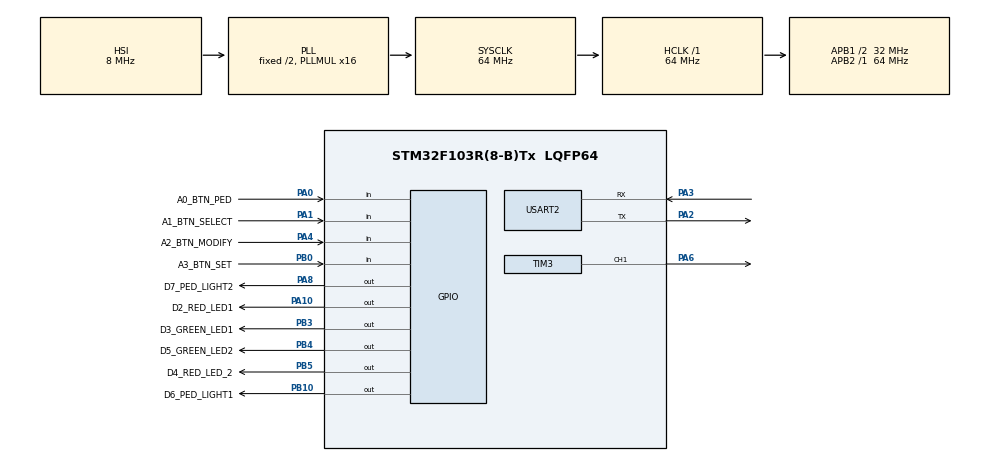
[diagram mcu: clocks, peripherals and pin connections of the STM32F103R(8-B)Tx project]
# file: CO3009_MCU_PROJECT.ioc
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Mcu.Family=STM32F1
Mcu.Name=STM32F103R(8-B)Tx
Mcu.Package=LQFP64
NVIC.PriorityGroup=NVIC_PRIORITYGROUP_4
NVIC.TIM2_IRQn=true\:0\:0\:false\:false\:true\:true\:true
PA0-WKUP.GPIO_Label=A0_BTN_PED
PA0-WKUP.GPIO_PuPd=GPIO_PULLUP
PA0-WKUP.Signal=GPIO_Input
PA1.GPIO_Label=A1_BTN_SELECT
PA1.GPIO_PuPd=GPIO_PULLUP
PA1.Signal=GPIO_Input
PA10.GPIO_Label=D2_RED_LED1
PA10.Signal=GPIO_Output
PA13.Mode=Serial_Wire
PA13.Signal=SYS_JTMS-SWDIO
PA14.Mode=Serial_Wire
PA14.Signal=SYS_JTCK-SWCLK
PA2.Mode=Asynchronous
PA2.Signal=USART2_TX
PA3.Mode=Asynchronous
PA3.Signal=USART2_RX
PA4.GPIO_Label=A2_BTN_MODIFY
PA4.GPIO_PuPd=GPIO_PULLUP
PA4.Signal=GPIO_Input
PA6.Signal=S_TIM3_CH1
PA8.GPIO_Label=D7_PED_LIGHT2
PA8.Signal=GPIO_Output
PB0.GPIO_Label=A3_BTN_SET
PB0.GPIO_PuPd=GPIO_PULLUP
PB0.Signal=GPIO_Input
PB10.GPIO_Label=D6_PED_LIGHT1
PB10.Signal=GPIO_Output
PB3.GPIO_Label=D3_GREEN_LED1
PB3.Signal=GPIO_Output
PB4.GPIO_Label=D5_GREEN_LED2
PB4.Signal=GPIO_Output
PB5.GPIO_Label=D4_RED_LED_2
PB5.Signal=GPIO_Output
ProjectManager.HeapSize=0x200
ProjectManager.StackSize=0x400
ProjectManager.TargetToolchain=STM32CubeIDE
RCC.AHBFreq_Value=64000000
RCC.APB1CLKDivider=RCC_HCLK_DIV2
RCC.APB1Freq_Value=32000000
RCC.APB1TimFreq_Value=64000000
RCC.APB2Freq_Value=64000000
RCC.APB2TimFreq_Value=64000000
RCC.HCLKFreq_Value=64000000
RCC.PLLMUL=RCC_PLL_MUL16
RCC.SYSCLKFreq_VALUE=64000000
RCC.SYSCLKSource=RCC_SYSCLKSOURCE_PLLCLK
RCC.USBFreq_Value=64000000
SH.S_TIM3_CH1.0=TIM3_CH1,PWM Generation1 CH1
TIM2.ClockDivision=TIM_CLOCKDIVISION_DIV1
TIM2.Period=79
TIM2.Prescaler=7999
TIM3.AutoReloadPreload=TIM_AUTORELOAD_PRELOAD_DISABLE
TIM3.Channel-PWM\ Generation1\ CH1=TIM_CHANNEL_1
TIM3.Period=999
TIM3.Prescaler=63
USART2.VirtualMode=VM_ASYNC
VP_TIM2_VS_ClockSourceINT.Mode=Internal
board=custom

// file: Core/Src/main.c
/* USER CODE BEGIN Header */
/**
  ******************************************************************************
  * @file           : main.c
  * @brief          : Main program body
  ******************************************************************************
  * @attention
  *
  * <h2><center>&copy; Copyright (c) 2022 STMicroelectronics.
  * All rights reserved.</center></h2>
  *
  * This software component is licensed by ST under BSD 3-Clause license,
  * the "License"; You may not use this file except in compliance with the
  * License. You may obtain a copy of the License at:
  *                        opensource.org/licenses/BSD-3-Clause
  *
  ******************************************************************************
  */
/* USER CODE END Header */
#include "main.h"

/* USER CODE BEGIN Includes */
#include "software_timer.h"
#include "global.h"
#include "fsm_automatic.h"
#include "fsm_manual.h"
#include "fsm_change.h"
#include "button.h"
#include "melody.h"
/* USER CODE END Includes */

TIM_HandleTypeDef htim2;
TIM_HandleTypeDef htim3;

UART_HandleTypeDef huart2;

void SystemClock_Config(void);
static void MX_GPIO_Init(void);
static void MX_TIM2_Init(void);
static void MX_TIM3_Init(void);
static void MX_USART2_UART_Init(void);

int main(void)
{

  /* MCU Configuration--------------------------------------------------------*/

  /* Reset of all peripherals, Initializes the Flash interface and the Systick. */
  HAL_Init();

  /* Configure the system clock */
  SystemClock_Config();

  /* Initialize all configured peripherals */
  MX_GPIO_Init();
  MX_TIM2_Init();
  MX_TIM3_Init();
  MX_USART2_UART_Init();
  /* USER CODE BEGIN 2 */
  HAL_TIM_Base_Start_IT(&htim2);
  HAL_TIM_PWM_Start(&htim3, TIM_CHANNEL_1);
  buzzer_init(TIM3);
  /* USER CODE END 2 */

  /* Infinite loop */
  /* USER CODE BEGIN WHILE */
  //setTimerTraffic1(10);
  state = IDLE;
  while (1)
  {
	  trafficLight_automatic();
	  trafficLight_change();
	  trafficLight_manual();
	  triggerLed();
//	  if (isLongPressedAndReleased(BTN_SELECT_INDEX)){
//		  char message[20];
//		  HAL_UART_Transmit(&huart2, (void *)message, sprintf(message, "!longpress#\r\n"), 1000);
//	  }
	  //HAL_GPIO_TogglePin(D2_RED_LED1_GPIO_Port, D2_RED_LED1_Pin);
	  //HAL_Delay(1000);
	  //HAL_GPIO_WritePin(D6_PED_LIGHT1_GPIO_Port, D6_PED_LIGHT1_Pin, 1);
	  //HAL_GPIO_WritePin(D7_PEDLIGHT2_GPIO_Port, D7_PEDLIGHT2_Pin, 0);
    /* USER CODE END WHILE */

  }
}

void SystemClock_Config(void)
{
  RCC_OscInitTypeDef RCC_OscInitStruct = {0};
  RCC_ClkInitTypeDef RCC_ClkInitStruct = {0};

  /** Initializes the RCC Oscillators according to the specified parameters
  * in the RCC_OscInitTypeDef structure.
  */
  RCC_OscInitStruct.OscillatorType = RCC_OSCILLATORTYPE_HSI;
  RCC_OscInitStruct.HSIState = RCC_HSI_ON;
  RCC_OscInitStruct.HSICalibrationValue = RCC_HSICALIBRATION_DEFAULT;
  RCC_OscInitStruct.PLL.PLLState = RCC_PLL_ON;
  RCC_OscInitStruct.PLL.PLLSource = RCC_PLLSOURCE_HSI_DIV2;
  RCC_OscInitStruct.PLL.PLLMUL = RCC_PLL_MUL16;
  if (HAL_RCC_OscConfig(&RCC_OscInitStruct) != HAL_OK)
  {
    Error_Handler();
  }
  /** Initializes the CPU, AHB and APB buses clocks
  */
  RCC_ClkInitStruct.ClockType = RCC_CLOCKTYPE_HCLK|RCC_CLOCKTYPE_SYSCLK
                              |RCC_CLOCKTYPE_PCLK1|RCC_CLOCKTYPE_PCLK2;
  RCC_ClkInitStruct.SYSCLKSource = RCC_SYSCLKSOURCE_PLLCLK;
  RCC_ClkInitStruct.AHBCLKDivider = RCC_SYSCLK_DIV1;
  RCC_ClkInitStruct.APB1CLKDivider = RCC_HCLK_DIV2;
  RCC_ClkInitStruct.APB2CLKDivider = RCC_HCLK_DIV1;

  if (HAL_RCC_ClockConfig(&RCC_ClkInitStruct, FLASH_LATENCY_2) != HAL_OK)
  {
    Error_Handler();
  }
}

static void MX_TIM2_Init(void)
{

  TIM_ClockConfigTypeDef sClockSourceConfig = {0};
  TIM_MasterConfigTypeDef sMasterConfig = {0};

  htim2.Instance = TIM2;
  htim2.Init.Prescaler = 7999;
  htim2.Init.CounterMode = TIM_COUNTERMODE_UP;
  htim2.Init.Period = 79;
  htim2.Init.ClockDivision = TIM_CLOCKDIVISION_DIV1;
  htim2.Init.AutoReloadPreload = TIM_AUTORELOAD_PRELOAD_DISABLE;
  if (HAL_TIM_Base_Init(&htim2) != HAL_OK)
  {
    Error_Handler();
  }
  sClockSourceConfig.ClockSource = TIM_CLOCKSOURCE_INTERNAL;
  if (HAL_TIM_ConfigClockSource(&htim2, &sClockSourceConfig) != HAL_OK)
  {
    Error_Handler();
  }
  sMasterConfig.MasterOutputTrigger = TIM_TRGO_RESET;
  sMasterConfig.MasterSlaveMode = TIM_MASTERSLAVEMODE_DISABLE;
  if (HAL_TIMEx_MasterConfigSynchronization(&htim2, &sMasterConfig) != HAL_OK)
  {
    Error_Handler();
  }

}

static void MX_TIM3_Init(void)
{

  TIM_MasterConfigTypeDef sMasterConfig = {0};
  TIM_OC_InitTypeDef sConfigOC = {0};

  htim3.Instance = TIM3;
  htim3.Init.Prescaler = 63;
  htim3.Init.CounterMode = TIM_COUNTERMODE_UP;
  htim3.Init.Period = 999;
  htim3.Init.ClockDivision = TIM_CLOCKDIVISION_DIV1;
  htim3.Init.AutoReloadPreload = TIM_AUTORELOAD_PRELOAD_DISABLE;
  if (HAL_TIM_PWM_Init(&htim3) != HAL_OK)
  {
    Error_Handler();
  }
  sMasterConfig.MasterOutputTrigger = TIM_TRGO_RESET;
  sMasterConfig.MasterSlaveMode = TIM_MASTERSLAVEMODE_DISABLE;
  if (HAL_TIMEx_MasterConfigSynchronization(&htim3, &sMasterConfig) != HAL_OK)
  {
    Error_Handler();
  }
  sConfigOC.OCMode = TIM_OCMODE_PWM1;
  sConfigOC.Pulse = 0;
  sConfigOC.OCPolarity = TIM_OCPOLARITY_HIGH;
  sConfigOC.OCFastMode = TIM_OCFAST_DISABLE;
  if (HAL_TIM_PWM_ConfigChannel(&htim3, &sConfigOC, TIM_CHANNEL_1) != HAL_OK)
  {
    Error_Handler();
  }
  HAL_TIM_MspPostInit(&htim3);

}

static void MX_USART2_UART_Init(void)
{

  huart2.Instance = USART2;
  huart2.Init.BaudRate = 115200;
  huart2.Init.WordLength = UART_WORDLENGTH_8B;
  huart2.Init.StopBits = UART_STOPBITS_1;
  huart2.Init.Parity = UART_PARITY_NONE;
  huart2.Init.Mode = UART_MODE_TX_RX;
  huart2.Init.HwFlowCtl = UART_HWCONTROL_NONE;
  huart2.Init.OverSampling = UART_OVERSAMPLING_16;
  if (HAL_UART_Init(&huart2) != HAL_OK)
  {
    Error_Handler();
  }

}

static void MX_GPIO_Init(void)
{
  GPIO_InitTypeDef GPIO_InitStruct = {0};

  /* GPIO Ports Clock Enable */
  __HAL_RCC_GPIOA_CLK_ENABLE();
  __HAL_RCC_GPIOB_CLK_ENABLE();

  /*Configure GPIO pin Output Level */
  HAL_GPIO_WritePin(GPIOB, D6_PED_LIGHT1_Pin|D3_GREEN_LED1_Pin|D5_GREEN_LED2_Pin|D4_RED_LED_2_Pin, GPIO_PIN_RESET);

  /*Configure GPIO pin Output Level */
  HAL_GPIO_WritePin(GPIOA, D7_PED_LIGHT2_Pin|D2_RED_LED1_Pin, GPIO_PIN_RESET);

  /*Configure GPIO pins : A0_BTN_PED_Pin A1_BTN_SELECT_Pin A2_BTN_MODIFY_Pin */
  GPIO_InitStruct.Pin = A0_BTN_PED_Pin|A1_BTN_SELECT_Pin|A2_BTN_MODIFY_Pin;
  GPIO_InitStruct.Mode = GPIO_MODE_INPUT;
  GPIO_InitStruct.Pull = GPIO_PULLUP;
  HAL_GPIO_Init(GPIOA, &GPIO_InitStruct);

  /*Configure GPIO pin : A3_BTN_SET_Pin */
  GPIO_InitStruct.Pin = A3_BTN_SET_Pin;
  GPIO_InitStruct.Mode = GPIO_MODE_INPUT;
  GPIO_InitStruct.Pull = GPIO_PULLUP;
  HAL_GPIO_Init(A3_BTN_SET_GPIO_Port, &GPIO_InitStruct);

  /*Configure GPIO pins : D6_PED_LIGHT1_Pin D3_GREEN_LED1_Pin D5_GREEN_LED2_Pin D4_RED_LED_2_Pin */
  GPIO_InitStruct.Pin = D6_PED_LIGHT1_Pin|D3_GREEN_LED1_Pin|D5_GREEN_LED2_Pin|D4_RED_LED_2_Pin;
  GPIO_InitStruct.Mode = GPIO_MODE_OUTPUT_PP;
  GPIO_InitStruct.Pull = GPIO_NOPULL;
  GPIO_InitStruct.Speed = GPIO_SPEED_FREQ_LOW;
  HAL_GPIO_Init(GPIOB, &GPIO_InitStruct);

  /*Configure GPIO pins : D7_PED_LIGHT2_Pin D2_RED_LED1_Pin */
  GPIO_InitStruct.Pin = D7_PED_LIGHT2_Pin|D2_RED_LED1_Pin;
  GPIO_InitStruct.Mode = GPIO_MODE_OUTPUT_PP;
  GPIO_InitStruct.Pull = GPIO_NOPULL;
  GPIO_InitStruct.Speed = GPIO_SPEED_FREQ_LOW;
  HAL_GPIO_Init(GPIOA, &GPIO_InitStruct);

}

/* USER CODE BEGIN 4 */
void HAL_TIM_PeriodElapsedCallback(TIM_HandleTypeDef *htim) {
	buzzer_run();
	readKeyInput();
	timer_run();
}
/* USER CODE END 4 */

void Error_Handler(void)
{
  __disable_irq();
  while (1)
  {
  }
}

/************************ (C) COPYRIGHT STMicroelectronics *****END OF FILE****/
